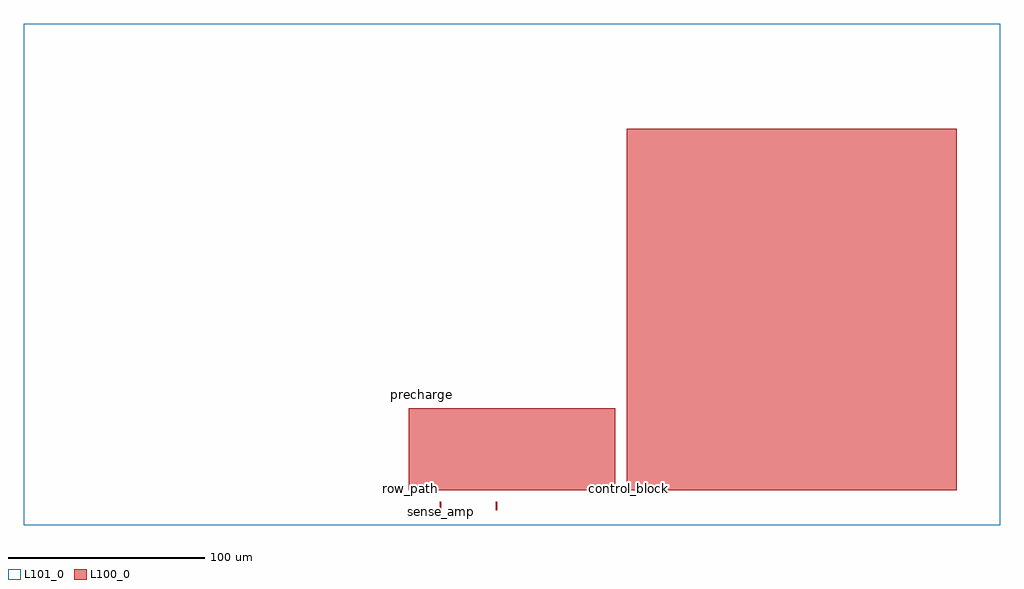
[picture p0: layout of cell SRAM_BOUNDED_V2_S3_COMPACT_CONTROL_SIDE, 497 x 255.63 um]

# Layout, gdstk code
import gdstk
lib = gdstk.Library(unit=1e-6, precision=1e-09)
def R(c, l, rs):  # rectangles x0, y0, x1, y1
    for r in rs: c.add(gdstk.rectangle(r[:2], r[2:], *l))
L100_0 = (100, 0)
L101_0 = (101, 0)

sram_bounded_v2_s3_compa = lib.new_cell('SRAM_BOUNDED_V2_S3_COMPACT_CONTROL_SIDE')
R(sram_bounded_v2_s3_compa, L100_0, [(15.75,-12.01,16.525,-6), (44.101,-10.175,44.941,-6), (0,0,105.003,41.62), (111.003,0,279.002,184), (5.25,47.62,5.963,49.01)])
R(sram_bounded_v2_s3_compa, L101_0, [(-196,-18.01,301.002,237.62)])
sram_bounded_v2_s3_compa.add(gdstk.Label('row_path', (1,1), layer=11, texttype=2))
sram_bounded_v2_s3_compa.add(gdstk.Label('precharge', (6.25,48.62), layer=11, texttype=2))
sram_bounded_v2_s3_compa.add(gdstk.Label('sense_amp', (16.75,-11.01), layer=11, texttype=2))
sram_bounded_v2_s3_compa.add(gdstk.Label('write_driver', (45.101,-9.175), layer=11, texttype=2))
sram_bounded_v2_s3_compa.add(gdstk.Label('control_block', (112.003,1), layer=11, texttype=2))

lib.write_gds('SRAM_BOUNDED_V2_S3_COMPACT_CONTROL_SIDE.gds')
